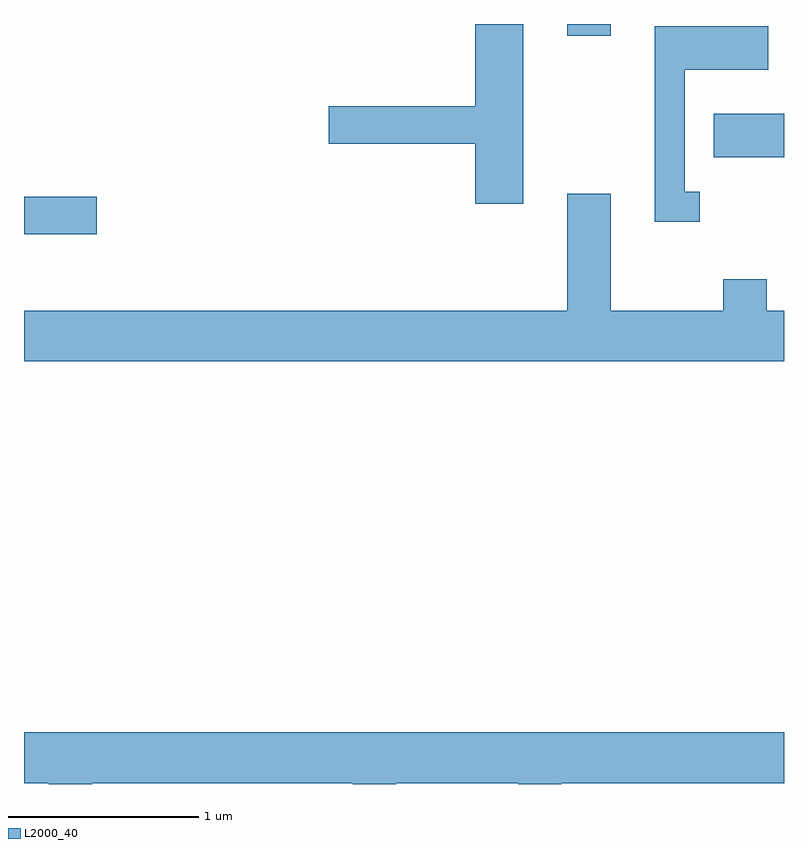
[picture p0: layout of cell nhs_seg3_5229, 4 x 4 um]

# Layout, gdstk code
import gdstk
lib = gdstk.Library(unit=1e-6, precision=1e-09)
def R(c, l, rs):  # rectangles x0, y0, x1, y1
    for r in rs: c.add(gdstk.rectangle(r[:2], r[2:], *l))
def P(c, l, *ps):  # polygons
    for p in ps: c.add(gdstk.Polygon(p, *l))
L2000_40 = (2000, 40)

nhs_seg3_5229 = lib.new_cell('nhs_seg3_5229')
R(nhs_seg3_5229, L2000_40, [(337.611,1248.786,337.994,1248.984), (341.241,1249.191,341.611,1249.419), (340.471,1249.831,340.699,1249.892)])
P(nhs_seg3_5229, L2000_40, [(340.239,1249.892),(339.986,1249.892),(339.986,1249.459),(339.216,1249.459),(339.216,1249.261),(339.986,1249.261),(339.986,1248.946),(340.239,1248.946)],
  [(341.168,1249.009),(341.089,1249.009),(341.089,1249.651),(341.529,1249.651),(341.529,1249.879),(340.931,1249.879),(340.931,1248.851),(341.168,1248.851)],
  [(341.611,1248.384),(341.519,1248.384),(341.519,1248.549),(341.291,1248.549),(341.291,1248.384),(340.699,1248.384),(340.699,1248.999),(340.471,1248.999),(340.471,1248.384),(337.611,1248.384),(337.611,1248.116),(341.611,1248.116)],
  [(337.969,1245.896),(339.341,1245.896),(339.341,1245.892),(339.569,1245.892),(339.569,1245.896),(340.211,1245.896),(340.211,1245.892),(340.439,1245.892),(340.439,1245.896),(341.611,1245.896),(341.611,1246.164),(337.611,1246.164),(337.611,1245.896),(337.741,1245.896),(337.741,1245.892),(337.969,1245.892)])

lib.write_gds('nhs_seg3_5229.gds')
